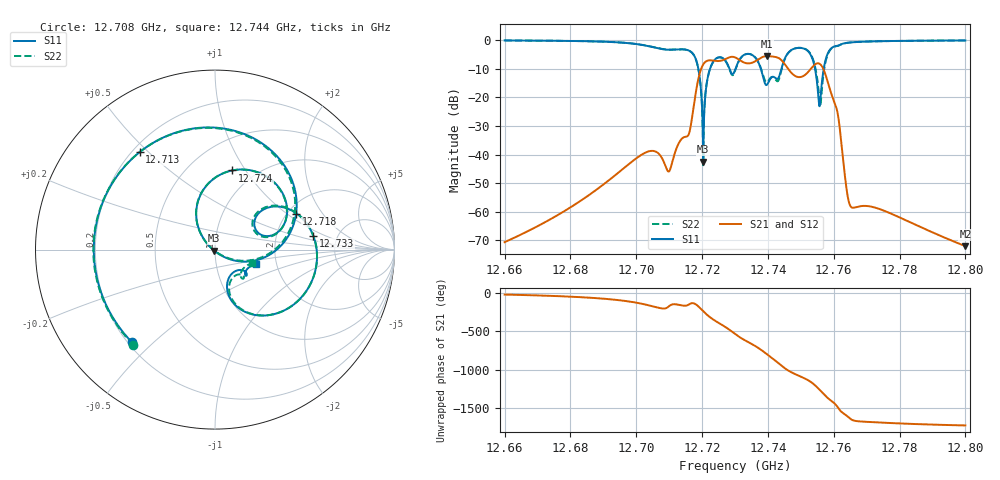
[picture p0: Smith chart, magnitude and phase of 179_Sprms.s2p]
! TOUCHSTONE file generated by CST MICROWAVE STUDIO
! Date and time: Wed Jul 31 19:56:07 2024
! Project name: WaveGuide_BPF-Ver4.1_U-shape_Ku_T3_C4_CWA_2.cst
! Parameters = {cavity_h=16; cavity_l0=10; cavity_l1=15.1947; cavity_l2=16.8561; cavity_l3=17.0751; cavity_l4=17.248; cavity_l5=17.105; cavity_l6=17.5545; cavity_r=2.5; cavity_screw_l=0.5; cavity_screw_r=1.5; cavity_w=8; iris_h00=0; iris_h01=8.8246; iris_h112=0; iris_h12=5.5983; iris_h211=3.6664; ir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
! Header version: 2018
! Port assignment regex: !\s*Touchstone port\s*([0-9]+)\s*=\s*(CST MWS port|CST DS port)\s*([0-9]+|Zmin|Zmax)\s*\(\"(.*)\"\)(\s*mode\s*([0-9]+))?.*
! Touchstone port assignment:
! Touchstone port 1 = CST MWS port 1 ("")
! Touchstone port 2 = CST MWS port 2 ("")
# GHz S RI R 50
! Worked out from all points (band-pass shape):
!   5001 points, 12.66 GHz to 12.8 GHz, reference 50 ohm
!   highest |S21| = -5.62 dB at 12.74 GHz (marker M1); lowest = -72.0 dB at 12.8 GHz (marker M2)
!   |S21| within 3 dB of the highest: 12.7203 GHz to 12.74523 GHz (24.93 MHz wide, 0.196 % of centre); 12.7542 GHz to 12.75601 GHz (1.816 MHz wide, 0.0142 % of centre)
!   lowest |S11| = -42.5 dB at 12.72 GHz (marker M3), VSWR 1.02, Z = 49.6 - j0.617 ohm
!   |S11| at or under -10 dB: 12.71885 GHz to 12.72244 GHz (3.584 MHz wide, 0.0282 % of centre); 12.73782 GHz to 12.74412 GHz (6.307 MHz wide, 0.0495 % of centre); 12.7543 GHz to 12.75697 GHz (2.673 MHz wide, 0.021 % of centre) (the widest 3 of 4)
!   |S22| runs from -43.7 to -0.2 dB; largest |S21 - S12| = 1e-09
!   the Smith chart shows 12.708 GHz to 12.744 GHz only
!   S11 on the Smith chart (normalised r, x): 12.708 GHz: 0.22, -0.43; 12.713 GHz: 0.23, +0.47; 12.718 GHz: 2.23, +1.16; 12.724 GHz: 0.79, +0.87; 12.733 GHz: 3.30, +0.72; 12.744 GHz: 1.57, -0.27
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12.66  0.3302 0.9233  0.000269 -0.00012  0.000269 -0.00012  0.3369 0.9209
12.68335  0.755 0.5849  0.000827 -0.00136  0.000827 -0.00136  0.7603 0.578
12.69822  0.8282 -0.2771  -0.00322 -0.00638  -0.00322 -0.00638  0.8268 -0.2844
12.70668  -0.2677 -0.6609  -0.0102 0.00269  -0.0102 0.00269  -0.2593 -0.6696
12.7078  -0.464 -0.5149  -0.00794 0.00352  -0.00794 0.00352  -0.4556 -0.5289
12.71292  -0.4197 0.5432  -0.0145 -0.0061  -0.0145 -0.0061  -0.4405 0.5262
12.7179  0.4512 0.1962  -0.0866 -0.0573  -0.0866 -0.0573  0.4444 0.2084
12.72034  -0.00423 -0.00622  -0.1837 0.3255  -0.1837 0.3255  -0.00535 -0.00368
12.72387  0.0971 0.4413  0.4315 -0.0113  0.4315 -0.0113  0.0966 0.441
12.72742  0.3825 0.1362  -0.0366 -0.4723  -0.0366 -0.4723  0.3795 0.1304
12.73  0.2308 0.1862  -0.4949 -0.0464  -0.4949 -0.0464  0.2198 0.1861
12.73288  0.548 0.0757  -0.1101 0.3854  -0.1101 0.3854  0.5455 0.0838
12.73725  0.1694 -0.3476  0.4648 -0.00859  0.4648 -0.00859  0.1825 -0.3507
12.73983  0.1225 -0.1163  0.0754 -0.518  0.0754 -0.518  0.1228 -0.1403
12.74355  0.2291 -0.0812  -0.4244 0.2073  -0.4244 0.2073  0.2086 -0.0755
12.74921  0.0565 -0.7251  0.2237 0.0247  0.2237 0.0247  0.0547 -0.7264
12.75335  -0.4109 -0.2803  0.0185 -0.3291  0.0185 -0.3291  -0.4192 -0.301
12.7559  0.0272 -0.082  -0.3723 0.0511  -0.3723 0.0511  -0.0182 -0.0692
12.76066  -0.1172 -0.7744  0.0669 -0.0176  0.0669 -0.0176  -0.1185 -0.7682
12.76508  -0.5239 -0.7384  -0.0012 0.000364  -0.0012 0.000364  -0.5298 -0.7335
12.77668  -0.9092 -0.2987  -0.000352 0.000902  -0.000352 0.000902  -0.9123 -0.29
12.8  -0.9508 0.2385  4.85e-05 0.000246  4.85e-05 0.000246  -0.9491 0.2459
